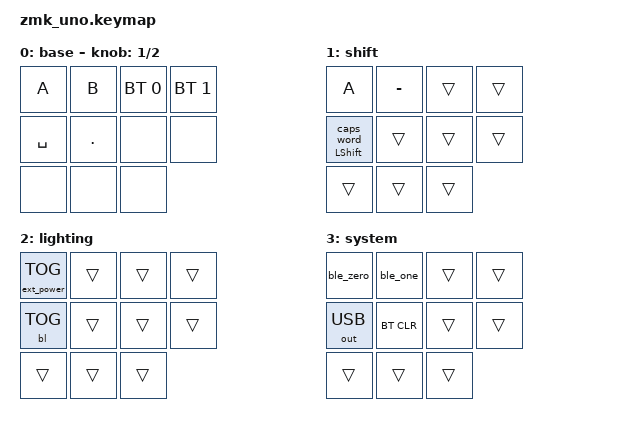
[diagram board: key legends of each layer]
/*
 * Copyright (c) 2022 The ZMK Contributors
 *
 * SPDX-License-Identifier: MIT
 */

#include <behaviors.dtsi>
#include <dt-bindings/zmk/keys.h>
#include <dt-bindings/zmk/backlight.h>
#include <dt-bindings/zmk/bt.h>
#include <dt-bindings/zmk/ext_power.h>
#include <dt-bindings/zmk/outputs.h>
#include <dt-bindings/zmk/rgb.h>

#include "zmk_uno_direct.dtsi"

/ {
    macros {
        ZMK_MACRO(ble_zero,
            wait-ms = <1>;
            tap-ms = <1>;
            bindings = <&out OUT_BLE &bt BT_SEL 0>;
        )
        ZMK_MACRO(ble_one,
            wait-ms = <1>;
            tap-ms = <1>;
            bindings = <&out OUT_BLE &bt BT_SEL 1>;
        )

        kp_caps: kp_caps {
            compatible = "zmk,behavior-hold-tap";
            label = "KP_CAPS";
            #binding-cells = <2>;
            tapping-term-ms = <200>;
            bindings = <&kp>, <&caps_word>;
        };
    };

    keymap {
        compatible = "zmk,keymap";

        layer_1 {
            label = "base";
            bindings = <
                &kp A     &kp B     &bt BT_SEL 0 &bt BT_SEL 1
                &kp SPACE &kp DOT   &none &none

                /* &out OUT_USB &ble_zero &ble_one */
                &none &none &none
            >;

            sensor-bindings = <&inc_dec_kp N1 N2>;
        };

        layer_2 {
            label = "shift";
            bindings = <
                &kp A            &kp MINUS  &trans &trans
                &kp_caps LSHFT 0 &trans     &trans &trans

                &trans &trans &trans
            >;
        };

        layer_3 {
            label = "lighting";
            bindings = <
                &ext_power EP_TOG &trans    &trans &trans
                &bl BL_TOG        &trans    &trans &trans

                &trans &trans &trans
            >;
        };

        layer_4 {
            label = "system";
            bindings = <
                &ble_zero    &ble_one       &trans &trans
                &out OUT_USB &bt BT_CLR     &trans &trans

                &trans &trans &trans
            >;
        };
    };
};
